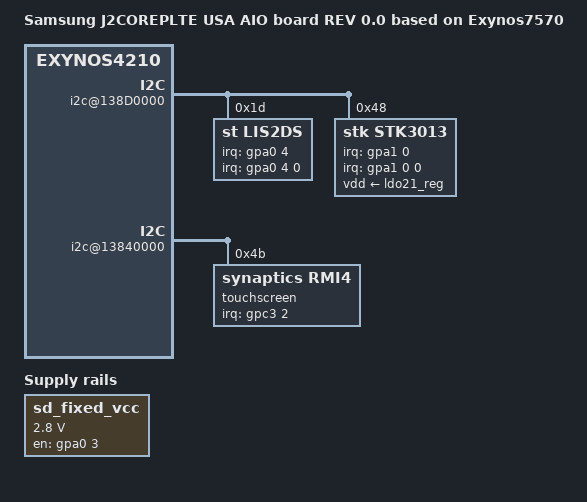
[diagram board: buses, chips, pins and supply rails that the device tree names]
/*
 * SAMSUNG UNIVERSAL7570 board device tree source
 *
 * Copyright (c) 2013 Samsung Electronics Co., Ltd.
 *		http://www.samsung.com
 *
 * This program is free software; you can redistribute it and/or modify
 * it under the terms of the GNU General Public License version 2 as
 * published by the Free Software Foundation.
 */

/dts-v1/;
#include "exynos7570-rmem.dtsi"
#include "exynos7570-j2coreplte_common.dtsi"
#include "modem-ss305ap-pdata.dtsi"
#include "exynos7570-j2coreplte_battery_common.dtsi"
#include "exynos7570-j2coreplte_usa_aio_gpio_01.dtsi"

/ {
	model = "Samsung J2COREPLTE USA AIO board REV 0.0 based on Exynos7570";
	model_info-chip = <7570>;
	model_info-platform = "android";
	model_info-subtype = "samsung";
	model_info-hw_rev = <1>;
	model_info-hw_rev_end = <255>;
	compatible = "samsung,exynos7570", "samsung,exynos4210";

	pinctrl@139E0000 {
		gpc7: gpc7 {
			gpio-controller;
			#gpio-cells = <2>;

			interrupt-controller;
			#interrupt-cells = <2>;
		};
	};

	sec_vib {
		compatible = "sec_vib";
		sec_vib_pdata {
			status = "okay";
			sec_vib,max_timeout = <10000>;
			/* 0: pmic ldo, 1: external ldo */
			sec_vib,ldo_type = <0>;
			sec_vib,regulator = "VDD_MOTOR_3P3";
		};
	};

	pinctrl@139F0000 {
		dwmmc2_tflash_en: dwmmc2_tflash_en {
			   samsung,pins = "gpa0-3";
			   samsung,pin-function = <0x1>;
			   samsung,pin-val = <1>;
			   samsung,pin-pud = <0>;
			   samsung,pin-drv = <4>;
		};
	};

	dwmmc2@13560000 {
		pinctrl-names = "default",
			"fast-slew-rate-1x",
			"fast-slew-rate-2x",
			"fast-slew-rate-3x",
			"fast-slew-rate-4x";
		pinctrl-0 = <&sd2_clk &sd2_cmd &sd2_bus1 &sd2_bus4
			     &dwmmc2_cd_ext_irq &dwmmc2_tflash_en>;
		pinctrl-1 = <&sd2_clk_fast_slew_rate_1x>;
		pinctrl-2 = <&sd2_clk_fast_slew_rate_2x>;
		pinctrl-3 = <&sd2_clk_fast_slew_rate_3x>;
		pinctrl-4 = <&sd2_clk_fast_slew_rate_4x>;
	};

	sd_fixed_vcc: fixedregulator@1 {
		      compatible = "regulator-fixed";
		      regulator-name = "vmmc";
		      gpio = <&gpa0 3 1>;
		      regulator-min-microvolt = <2800000>;
		      regulator-max-microvolt = <2800000>;
		      regulator-initial-mode = <0>;
		      enable-active-high;
		      regulator-boot-on;
	};

	pinctrl@139B0000 {
		fimc_is_flash_host: fimc-is-flash-host {
			samsung,pins = "gpf3-3";
			samsung,pin-function = <1>;
			samsung,pin-pud = <1>;
			samsung,pin-drv = <0>;
		};
		fimc_is_flash_is: fimc-is-flash-is {
			samsung,pins = "gpf3-3";
			samsung,pin-function = <1>;
			samsung,pin-pud = <1>;
			samsung,pin-drv = <0>;
		};
	};

	leds_ktd2692 {
		compatible = "ktd2692";
		flash_control = <&gpf3 3 0x1>;
		status = "okay";
		pinctrl-names ="default","host","is";
		pinctrl-0 = <&fimc_is_flash_is>;
		pinctrl-1 = <&fimc_is_flash_host>;
		pinctrl-2 = <&fimc_is_flash_is>;
	};

	/* modem_interface */
	mif_pdata {
		reg = <0 0x10000 0x0>;

		pinctrl-names = "default";
		pinctrl-0 = <&cp_gpio_j2coreplte>;
	};

	pinctrl@139F0000 {
		cp_gpio_j2coreplte: cp_gpio_j2coreplte {
			samsung,pins = "gpa1-3", "gpa2-2", "gpa2-3", "gpa2-4", "gpa2-5", "gpa2-6", "gpa2-7";
			samsung,pin-function = <4>;
			samsung,pin-pud = <0>;
		};
	};

	i2c@138D0000 {
		samsung,i2c-sda-delay = <100>;
		samsung,i2c-max-bus-freq = <400000>;
		status = "okay";
		#address-cells = <1>;
		#size-cells = <0>;
		pinctrl-names = "default";
		pinctrl-0 = <&sensor_i2c>;

		lis2ds@1D {
			compatible = "st,lis2ds";
			reg = <0x1D>;
			pinctrl-names = "default";
			pinctrl-0 = <&acc_int>;
			interrupt-parent = <&gpa0>;
			interrupts = <4 0 0>;
			st,orientation = <1 0 1 2 1 1 1 1 0>;
			st,irq_gpio = <&gpa0 4 0>;
		};
		
		stk3013@48 {
			compatible = "stk,stk3013";
			reg = <0x48>;
			interrupt-parent = <&gpa1>;
			interrupts = <0 0 0>;
			pinctrl-names = "default";
			pinctrl-0 = <&prox_int>;
			stk,vdd-supply = <&ldo21_reg>;
			stk,irq-gpio = <&gpa1 0 0x00>;
			stk,regulator_divided = <1>;
			stk,vdd_always_on = <0>;
			stk,state-reg = <0x2c>;
			stk,psctrl-reg = <0x71>;
			stk,ledctrl-reg = <0xBF>;
			stk,wait-reg = <0x03>;
			stk,ps-thd-h = <15>;
			stk,ps-thd-l = <8>;
			stk,ps-cancel-thd-h = <10>;
			stk,ps-cancel-thd-l = <7>;
			stk,ps-cal-skip-adc = <7>;
			stk,ps-cal-fail-adc = <23>;
			stk,ps-default-offset = <3>;
		};
	};
	
	/* TOUCH */
	pinctrl@139D0000 {
		/* I2C_TSP */
		i2c3_bus: i2c3-bus {
			samsung,pins = "gpc3-1", "gpc3-0";
			samsung,pin-function = <2>;
			samsung,pin-pud = <0>;
			samsung,pin-drv = <0>;
		};
		i2c_on: i2c-on {
			samsung,pins = "gpc3-1", "gpc3-0";
			samsung,pin-function = <2>;
			samsung,pin-pud = <0>;
			samsung,pin-drv = <0>;
		};
		i2c_off: i2c-off {
			samsung,pins = "gpc3-1", "gpc3-0";
			samsung,pin-function = <2>;
			samsung,pin-pud = <1>;
			samsung,pin-drv = <0>;
		};
		attn_input: attn-input {
			samsung,pins = "gpc3-2";
			samsung,pin-function = <0>;
			samsung,pin-pud = <0>;
			samsung,pin-drv = <0>;
		};
		attn_irq: attn-irq {
			samsung,pins = "gpc3-2";
			samsung,pin-function = <0xf>;
			samsung,pin-pud = <0>;
			samsung,pin-drv = <0>;
		};
	};
	
	i2c@13840000 {
		status = "okay";
		#address-cells = <1>;
		#size-cells = <0>;
		samsung,i2c-max-bus-freq = <400000>;
		touchscreen@4b {
			compatible = "synaptics,rmi4";
			reg = <0x4b>;
			pinctrl-names = "default", "on_state", "off_state";
			pinctrl-0 = <&attn_irq>;
			pinctrl-1 = <&i2c_on>;
			pinctrl-2 = <&i2c_off>;
			synaptics,irq_gpio = <&gpc3 2 0>;
			synaptics,irq_type = <8200>;
			synaptics,max_coords = <540 960>;	/* x y */
			synaptics,num_lines = <29 16>;		/* rx tx */
			synaptics,project_name = "J2core","J260";
			synaptics,ub-i2c-addr = <0x2c>;
			synaptics,reset-delay-ms = <150>;
			synaptics,force_update = <1>;
			synaptics,firmware_name = "tsp_synaptics/td4101_j2corelte.fw";
			synaptics,firmware_name_bl = "tsp_synaptics/td4101_j2corelte_recovery.fw";
			synaptics,factory_item_version = <1>;
		};
	};
};
